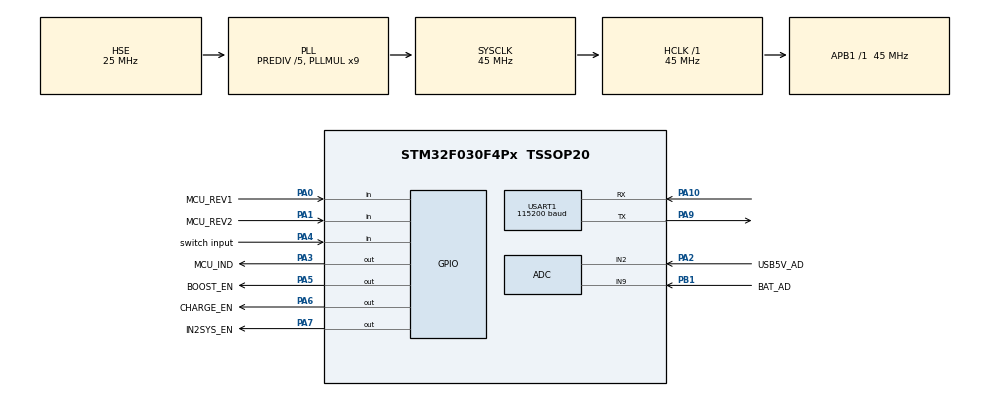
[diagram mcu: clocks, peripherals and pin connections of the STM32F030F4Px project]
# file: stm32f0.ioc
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ADC.ContinuousConvMode=ENABLE
ADC.LowPowerAutoPowerOff=ENABLE
ADC.LowPowerAutoWait=ENABLE
ADC.Overrun=ADC_OVR_DATA_OVERWRITTEN
ADC.SamplingTime=ADC_SAMPLETIME_239CYCLES_5
IWDG.Prescaler=IWDG_PRESCALER_64
IWDG.Reload=1250
IWDG.Window=1250
Mcu.Family=STM32F0
Mcu.Name=STM32F030F4Px
Mcu.Package=TSSOP20
NVIC.RCC_IRQn=true\:0\:0\:false\:false\:true\:true\:false
NVIC.USART1_IRQn=true\:0\:0\:false\:false\:true\:true\:true
PA0.GPIO_Label=MCU_REV1
PA0.Signal=GPIO_Input
PA1.GPIO_Label=MCU_REV2
PA1.Signal=GPIO_Input
PA10.Mode=Asynchronous
PA10.Signal=USART1_RX
PA13.Mode=Serial_Wire
PA13.Signal=SYS_SWDIO
PA14.Mode=Serial_Wire
PA14.Signal=SYS_SWCLK
PA2.GPIO_Label=USB5V_AD
PA2.Mode=IN2
PA2.Signal=ADC_IN2
PA3.GPIO_Label=MCU_IND
PA3.GPIO_Speed=GPIO_SPEED_FREQ_HIGH
PA3.Signal=GPIO_Output
PA4.GPIO_Label=switch input
PA4.Signal=GPIO_Input
PA5.GPIO_Label=BOOST_EN
PA5.GPIO_PuPd=GPIO_PULLUP
PA5.Signal=GPIO_Output
PA6.GPIO_Label=CHARGE_EN
PA6.GPIO_PuPd=GPIO_PULLUP
PA6.GPIO_Speed=GPIO_SPEED_FREQ_LOW
PA6.Signal=GPIO_Output
PA7.GPIO_Label=IN2SYS_EN
PA7.GPIO_PuPd=GPIO_NOPULL
PA7.GPIO_Speed=GPIO_SPEED_FREQ_LOW
PA7.Signal=SharedStack_PA7
PA7.Stacked=true
PA9.Mode=Asynchronous
PA9.Signal=USART1_TX
PB1.GPIO_Label=BAT_AD
PB1.Mode=IN9
PB1.Signal=ADC_IN9
PF0-OSC_IN.Mode=HSE-External-Oscillator
PF0-OSC_IN.Signal=RCC_OSC_IN
PF1-OSC_OUT.Mode=HSE-External-Oscillator
PF1-OSC_OUT.Signal=RCC_OSC_OUT
ProjectManager.HeapSize=0x200
ProjectManager.StackSize=0x400
ProjectManager.TargetToolchain=STM32CubeIDE
RCC.AHBFreq_Value=45000000
RCC.APB1Freq_Value=45000000
RCC.APB1TimFreq_Value=45000000
RCC.HCLKFreq_Value=45000000
RCC.HSE_VALUE=25000000
RCC.PLLDivider=RCC_PREDIV_DIV5
RCC.PLLMUL=RCC_PLL_MUL9
RCC.PLLSourceVirtual=RCC_PLLSOURCE_HSE
RCC.SYSCLKFreq_VALUE=45000000
RCC.SYSCLKSource=RCC_SYSCLKSOURCE_PLLCLK
SH.SharedStack_PA7.0=GPIO_Output+0
SH.SharedStack_PA7.1=GPIO_Input
USART1.BaudRate=115200
USART1.DMADisableonRxErrorParam=ADVFEATURE_DMA_DISABLEONRXERROR
USART1.OneBitSampling=UART_ONE_BIT_SAMPLE_DISABLE
USART1.OverSampling=UART_OVERSAMPLING_8
USART1.VirtualMode-Asynchronous=VM_ASYNC
USART1.WordLength=WORDLENGTH_8B
VP_IWDG_VS_IWDG.Mode=IWDG_Activate
board=custom

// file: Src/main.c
/* USER CODE BEGIN Header */
/**
  ******************************************************************************
  * @file           : main.c
  * @brief          : Main program body
  ******************************************************************************
  * @attention
  *
  * <h2><center>&copy; Copyright (c) 2019 STMicroelectronics.
  * All rights reserved.</center></h2>
  *
  * This software component is licensed by ST under BSD 3-Clause license,
  * the "License"; You may not use this file except in compliance with the
  * License. You may obtain a copy of the License at:
  *                        opensource.org/licenses/BSD-3-Clause
  *
  ******************************************************************************
  */
/* USER CODE END Header */

#include "main.h"

/* USER CODE BEGIN Includes */
#include "usart.h"
#include "adc.h"
#include "crc.h"
#include "stm32f0xx_it.h"
/* USER CODE END Includes */

/* USER CODE BEGIN PD */
#define SHORT_PRESS_DURATION	1000/10
#define MIDDLE_PRESS_DURATION	4000/10
#define SHUTDOWN_CM_DURATION  6000/10
#define LONG_PRESS_DURATION		10000/10 /*shutdown CM forcely*/
#define BATT_VOL_SEND_PERIOD    1000 //ms
#define POWKEY_ACTIVE 	    0
#define POWKEY_DEACTIVE 	1
#define DURATION_S(sec)    ((sec * 1000)/10)

/* USER CODE END PD */

/* USER CODE BEGIN PM */
#define TRUE  1
#define FALSE 0
#define KEY_FIRST_ON        0x01
#define KEY_DEBOUNCE_START  0x02
#define KEY_DEBOUNCE_END    0x04
#define KEY_RELEASED        0x08
/* USER CODE END PM */

ADC_HandleTypeDef hadc;

IWDG_HandleTypeDef hiwdg;

UART_HandleTypeDef huart1;

/* USER CODE BEGIN PV */
uint8_t flag_key = 0;
static uint8_t current_powerState = OFF;
static uint8_t Uart_TxData[10] = {0};
static uint8_t Uart_RxData[10] = {0};
uint32_t u32KeyTimerCnt;
extern uint32_t flag_time;
/* USER CODE END PV */

void SystemClock_Config(void);
static void MX_GPIO_Init(void);
static void MX_ADC_Init(void);
static void MX_USART1_UART_Init(void);
static void MX_IWDG_Init(void);
/* USER CODE BEGIN PFP */
//static void Pow_GPIO_Dir_Set(int dir);
/* USER CODE END PFP */

/* USER CODE BEGIN 0 */
uint32_t Get_Switch_Key_Val(GPIO_TypeDef *GPIOx, uint32_t key)
{
	return (LL_GPIO_IsInputPinSet(GPIOx, key) == TRUE) ? POWKEY_DEACTIVE :POWKEY_ACTIVE;
}

uint8_t Get_CurrentPowState(void)
{
	return current_powerState;
}

void Set_CurrentPowState(uint32_t state)
{
	 current_powerState = state;
}

void scan_key(void)
{
	static uint8_t debounce_time = 1; //10ms

	  if((flag_key & KEY_FIRST_ON) == FALSE)
	  {
		  if(POWKEY_ACTIVE == Get_Switch_Key_Val(switch_input_GPIO_Port, switch_input_Pin))
		  {
			  flag_key |= KEY_FIRST_ON;
			  flag_key |= KEY_DEBOUNCE_START;
		  }
	  }
	  else if(flag_key & KEY_DEBOUNCE_START)
	  {
		  debounce_time--;
		  if(debounce_time == 0)
		  {
			  debounce_time = 1;
			  flag_key &= ~KEY_DEBOUNCE_START;
			  flag_key |= KEY_DEBOUNCE_END;
		  }
	  }
	  else if(flag_key & KEY_DEBOUNCE_END)
	  {

		  if(POWKEY_ACTIVE == Get_Switch_Key_Val(switch_input_GPIO_Port, switch_input_Pin))
		  {
			  u32KeyTimerCnt++;
		  }
		  else
		  {
			  flag_key &= ~KEY_DEBOUNCE_END;
			  flag_key |= KEY_RELEASED;
		  }

	  }
	  else
	  {

	  }

	if((flag_key & KEY_RELEASED) != 0)
	{
		  if(0 < u32KeyTimerCnt && u32KeyTimerCnt <= SHORT_PRESS_DURATION)
		  {
			  flag_key = 0;
			  u32KeyTimerCnt = 0;
			  Uart_TxData[2] = 1; //key msg
        Uart_TxData[3] = 1; // len,lsb
        Uart_TxData[4] = 0; // len,msb
			  Uart_TxData[5] = SHORT_PRESS;
			  Uart_TxData[6] = crc8_calculate(Uart_TxData, UART_MSG_LENGTH );
			  HAL_UART_Transmit_IT(&huart1, Uart_TxData, MIN_IPC_MSG_LEN + KEY_MSG_PAYLOAD_LEN);
			  HAL_UART_Receive_IT(&huart1, Uart_RxData, MIN_IPC_MSG_LEN + KEY_MSG_PAYLOAD_LEN);
		  }
		  else if(SHORT_PRESS_DURATION < u32KeyTimerCnt && u32KeyTimerCnt <= MIDDLE_PRESS_DURATION)
		  {
			  u32KeyTimerCnt = 0;
			  flag_key = 0;
		  }
      else if(SHUTDOWN_CM_DURATION <= u32KeyTimerCnt && u32KeyTimerCnt < LONG_PRESS_DURATION)
      {
        	u32KeyTimerCnt = 0;
			    flag_key = 0;
      }
		  else
		  {
			  u32KeyTimerCnt = 0;
			  flag_key = 0;
		  }
	 }
   else
   {
     if(SHORT_PRESS_DURATION < u32KeyTimerCnt && u32KeyTimerCnt <= MIDDLE_PRESS_DURATION)
		  {
			  if(OFF == current_powerState)
			  {
           /*power on CM*/
          /**/
				  //LL_GPIO_SetOutputPin(BOOST_EN_GPIO_Port, BOOST_EN_Pin);

				  /**/
				  //LL_GPIO_SetOutputPin(CHARGE_EN_GPIO_Port, CHARGE_EN_Pin);

				  /**/
				  //LL_GPIO_SetOutputPin(IN2SYS_EN_GPIO_Port, IN2SYS_EN_Pin);

				  Pow_GPIO_Dir_Set(0);
				  Set_CurrentPowState(ON);
				  HAL_UART_Receive_IT(&huart1, Uart_RxData, MIN_IPC_MSG_LEN + KEY_MSG_PAYLOAD_LEN);
			  }
			  else
			  {
          /*Do nothing*/
			  }
		  }
      else if(SHUTDOWN_CM_DURATION <= u32KeyTimerCnt && u32KeyTimerCnt < LONG_PRESS_DURATION)
      {
            if(Get_CurrentPowState() != OFF && Get_CurrentPowState() != READY_OFF)
            {
              Uart_TxData[2] = 1;//key msg
              Uart_TxData[3] = 1; // len_lsb
              Uart_TxData[4] = 0; // len_msb
              Uart_TxData[5] = SHUTDOWN_PRESS; //payload
              Uart_TxData[6] = crc8_calculate(Uart_TxData, UART_MSG_LENGTH );
              HAL_UART_Transmit_IT(&huart1, Uart_TxData, MIN_IPC_MSG_LEN + KEY_MSG_PAYLOAD_LEN);
              HAL_UART_Receive_IT(&huart1, Uart_RxData, MIN_IPC_MSG_LEN + KEY_MSG_PAYLOAD_LEN);
              Set_CurrentPowState(WAITING_OFF);
            }
            else
            {
              /*Do nothing*/
            }

      }
      else if(u32KeyTimerCnt >= LONG_PRESS_DURATION)
      {
          Pow_GPIO_Dir_Set(1);
          /**/
          LL_GPIO_ResetOutputPin(BOOST_EN_GPIO_Port, BOOST_EN_Pin);

          /**/
          LL_GPIO_ResetOutputPin(CHARGE_EN_GPIO_Port, CHARGE_EN_Pin);

          /**/
          LL_GPIO_ResetOutputPin(IN2SYS_EN_GPIO_Port, IN2SYS_EN_Pin);

          Set_CurrentPowState(OFF);
      }
      else
      {
        /* code */
      }
   }
}

void time_10ms_proc(void)
{
	scan_key();
	  /*After pi excute power off sequence, it sends out ready off state to mcu,which will set
	   *  current_powerState to READY_OFF*/
	  if(Get_CurrentPowState() == READY_OFF)
	  {
      Pow_GPIO_Dir_Set(1);
		  /**/
		  LL_GPIO_ResetOutputPin(BOOST_EN_GPIO_Port, BOOST_EN_Pin);

		  /**/
		  LL_GPIO_ResetOutputPin(CHARGE_EN_GPIO_Port, CHARGE_EN_Pin);

		  /**/
		  LL_GPIO_ResetOutputPin(IN2SYS_EN_GPIO_Port, IN2SYS_EN_Pin);

		  Set_CurrentPowState(OFF);
	  }
	  HAL_IWDG_Refresh(&hiwdg);
}

void time_1000ms_proc(void)
{
	uint8_t current_pow_sts;

	current_pow_sts = Get_CurrentPowState();
	ADC_Check_And_Send(current_pow_sts);
}

void Pow_GPIO_Dir_Set(int dir)
{
   LL_GPIO_InitTypeDef GPIO_InitStruct = {0};

  if(dir == 0) /*input*/
  {
    GPIO_InitStruct.Pin = BOOST_EN_Pin;
    GPIO_InitStruct.Mode = LL_GPIO_MODE_INPUT;
    GPIO_InitStruct.Pull = LL_GPIO_PULL_NO;
    LL_GPIO_Init(BOOST_EN_GPIO_Port, &GPIO_InitStruct);

    /**/
    GPIO_InitStruct.Pin = CHARGE_EN_Pin;
    GPIO_InitStruct.Mode = LL_GPIO_MODE_INPUT;
    GPIO_InitStruct.Pull = LL_GPIO_PULL_NO;
    LL_GPIO_Init(CHARGE_EN_GPIO_Port, &GPIO_InitStruct);

    /**/
    GPIO_InitStruct.Pin = IN2SYS_EN_Pin;
    GPIO_InitStruct.Mode = LL_GPIO_MODE_INPUT;
    GPIO_InitStruct.Pull = LL_GPIO_PULL_NO;
    LL_GPIO_Init(IN2SYS_EN_GPIO_Port, &GPIO_InitStruct);

    GPIO_InitStruct.Pin = MCU_REV1_Pin;
    GPIO_InitStruct.Mode = LL_GPIO_MODE_INPUT;
    GPIO_InitStruct.Pull = LL_GPIO_PULL_UP;
    LL_GPIO_Init(MCU_REV1_GPIO_Port, &GPIO_InitStruct);

  }
  else /*output*/
  {
    GPIO_InitStruct.Pin = BOOST_EN_Pin;
    GPIO_InitStruct.Mode = LL_GPIO_MODE_OUTPUT;
    GPIO_InitStruct.Speed = LL_GPIO_SPEED_FREQ_HIGH;
    GPIO_InitStruct.OutputType = LL_GPIO_OUTPUT_PUSHPULL;
    GPIO_InitStruct.Pull = LL_GPIO_PULL_NO;
    LL_GPIO_Init(BOOST_EN_GPIO_Port, &GPIO_InitStruct);

    GPIO_InitStruct.Pin = MCU_REV1_Pin;
    GPIO_InitStruct.Mode = LL_GPIO_MODE_OUTPUT;
    GPIO_InitStruct.Speed = LL_GPIO_SPEED_FREQ_HIGH;
    GPIO_InitStruct.OutputType = LL_GPIO_OUTPUT_PUSHPULL;
    GPIO_InitStruct.Pull = LL_GPIO_PULL_DOWN;
    LL_GPIO_Init(MCU_REV1_GPIO_Port, &GPIO_InitStruct);
  }

}

/* USER CODE END 0 */

int main(void)
{
  /* USER CODE BEGIN 1 */
	Uart_TxData[0] = 0x5a;
	Uart_TxData[1] = 0xa5;  //ipc header
  /* USER CODE END 1 */

  /* MCU Configuration--------------------------------------------------------*/

  /* Reset of all peripherals, Initializes the Flash interface and the Systick. */
  HAL_Init();

  /* Configure the system clock */
  SystemClock_Config();

  /* USER CODE BEGIN SysInit */
  NVIC_EnableIRQ(SysTick_IRQn);
  /* USER CODE END SysInit */

  /* Initialize all configured peripherals */
  MX_GPIO_Init();
  MX_ADC_Init();
  MX_USART1_UART_Init();
  MX_IWDG_Init();
  /* USER CODE BEGIN 2 */
  /*enable uart rx interrupt after init*/
  HAL_UART_Receive_IT(&huart1, Uart_RxData, MIN_IPC_MSG_LEN + KEY_MSG_PAYLOAD_LEN);
  /**/
  LL_GPIO_ResetOutputPin(BOOST_EN_GPIO_Port, BOOST_EN_Pin);

  /**/
  LL_GPIO_ResetOutputPin(CHARGE_EN_GPIO_Port, CHARGE_EN_Pin);

  /**/
  LL_GPIO_ResetOutputPin(IN2SYS_EN_GPIO_Port, IN2SYS_EN_Pin);

  //crc = HAL_CRC_Calculate(&hcrc, (uint32_t*)buf, sizeof(buf));

  /* USER CODE END 2 */

  /* Infinite loop */
  /* USER CODE BEGIN WHILE */
  while (1)
  {
	  time_proc();

	  LL_mDelay(1);
    /* USER CODE END WHILE */

  }
}

void SystemClock_Config(void)
{
  RCC_OscInitTypeDef RCC_OscInitStruct = {0};
  RCC_ClkInitTypeDef RCC_ClkInitStruct = {0};
  RCC_PeriphCLKInitTypeDef PeriphClkInit = {0};

  /** Initializes the CPU, AHB and APB busses clocks
  */
  RCC_OscInitStruct.OscillatorType = RCC_OSCILLATORTYPE_HSI14|RCC_OSCILLATORTYPE_LSI
                              |RCC_OSCILLATORTYPE_HSE;
  RCC_OscInitStruct.HSEState = RCC_HSE_ON;
  RCC_OscInitStruct.HSI14State = RCC_HSI14_ON;
  RCC_OscInitStruct.HSI14CalibrationValue = 16;
  RCC_OscInitStruct.LSIState = RCC_LSI_ON;
  RCC_OscInitStruct.PLL.PLLState = RCC_PLL_ON;
  RCC_OscInitStruct.PLL.PLLSource = RCC_PLLSOURCE_HSE;
  RCC_OscInitStruct.PLL.PLLMUL = RCC_PLL_MUL9;
  RCC_OscInitStruct.PLL.PREDIV = RCC_PREDIV_DIV5;
  if (HAL_RCC_OscConfig(&RCC_OscInitStruct) != HAL_OK)
  {
    Error_Handler();
  }
  /** Initializes the CPU, AHB and APB busses clocks
  */
  RCC_ClkInitStruct.ClockType = RCC_CLOCKTYPE_HCLK|RCC_CLOCKTYPE_SYSCLK
                              |RCC_CLOCKTYPE_PCLK1;
  RCC_ClkInitStruct.SYSCLKSource = RCC_SYSCLKSOURCE_PLLCLK;
  RCC_ClkInitStruct.AHBCLKDivider = RCC_SYSCLK_DIV1;
  RCC_ClkInitStruct.APB1CLKDivider = RCC_HCLK_DIV1;

  if (HAL_RCC_ClockConfig(&RCC_ClkInitStruct, FLASH_LATENCY_1) != HAL_OK)
  {
    Error_Handler();
  }
  PeriphClkInit.PeriphClockSelection = RCC_PERIPHCLK_USART1;
  PeriphClkInit.Usart1ClockSelection = RCC_USART1CLKSOURCE_PCLK1;
  if (HAL_RCCEx_PeriphCLKConfig(&PeriphClkInit) != HAL_OK)
  {
    Error_Handler();
  }
}

static void MX_ADC_Init(void)
{

  ADC_ChannelConfTypeDef sConfig = {0};

  /** Configure the global features of the ADC (Clock, Resolution, Data Alignment and number of conversion)
  */
  hadc.Instance = ADC1;
  hadc.Init.ClockPrescaler = ADC_CLOCK_ASYNC_DIV1;
  hadc.Init.Resolution = ADC_RESOLUTION_12B;
  hadc.Init.DataAlign = ADC_DATAALIGN_RIGHT;
  hadc.Init.ScanConvMode = ADC_SCAN_DIRECTION_FORWARD;
  hadc.Init.EOCSelection = ADC_EOC_SINGLE_CONV;
  hadc.Init.LowPowerAutoWait = ENABLE;
  hadc.Init.LowPowerAutoPowerOff = ENABLE;
  hadc.Init.ContinuousConvMode = ENABLE;
  hadc.Init.DiscontinuousConvMode = DISABLE;
  hadc.Init.ExternalTrigConv = ADC_SOFTWARE_START;
  hadc.Init.ExternalTrigConvEdge = ADC_EXTERNALTRIGCONVEDGE_NONE;
  hadc.Init.DMAContinuousRequests = DISABLE;
  hadc.Init.Overrun = ADC_OVR_DATA_OVERWRITTEN;
  if (HAL_ADC_Init(&hadc) != HAL_OK)
  {
    Error_Handler();
  }
  /** Configure for the selected ADC regular channel to be converted.
  */
  sConfig.Channel = ADC_CHANNEL_2;
  sConfig.Rank = ADC_RANK_CHANNEL_NUMBER;
  sConfig.SamplingTime = ADC_SAMPLETIME_239CYCLES_5;
  if (HAL_ADC_ConfigChannel(&hadc, &sConfig) != HAL_OK)
  {
    Error_Handler();
  }
  /** Configure for the selected ADC regular channel to be converted.
  */
  sConfig.Channel = ADC_CHANNEL_9;
  if (HAL_ADC_ConfigChannel(&hadc, &sConfig) != HAL_OK)
  {
    Error_Handler();
  }
  /* USER CODE BEGIN ADC_Init 2 */
  //LL_ADC_Enable(ADC1);
  //while(!LL_ADC_IsActiveFlag_ADRDY(ADC1)); //wait for ready
  /* USER CODE END ADC_Init 2 */

}

static void MX_IWDG_Init(void)
{

  hiwdg.Instance = IWDG;
  hiwdg.Init.Prescaler = IWDG_PRESCALER_64;
  hiwdg.Init.Window = 1250;
  hiwdg.Init.Reload = 1250;
  if (HAL_IWDG_Init(&hiwdg) != HAL_OK)
  {
    Error_Handler();
  }

}

static void MX_USART1_UART_Init(void)
{

  huart1.Instance = USART1;
  huart1.Init.BaudRate = 115200;
  huart1.Init.WordLength = UART_WORDLENGTH_8B;
  huart1.Init.StopBits = UART_STOPBITS_1;
  huart1.Init.Parity = UART_PARITY_NONE;
  huart1.Init.Mode = UART_MODE_TX_RX;
  huart1.Init.HwFlowCtl = UART_HWCONTROL_NONE;
  huart1.Init.OverSampling = UART_OVERSAMPLING_8;
  huart1.Init.OneBitSampling = UART_ONE_BIT_SAMPLE_DISABLE;
  huart1.AdvancedInit.AdvFeatureInit = UART_ADVFEATURE_DMADISABLEONERROR_INIT;
  huart1.AdvancedInit.DMADisableonRxError = UART_ADVFEATURE_DMA_DISABLEONRXERROR;
  if (HAL_UART_Init(&huart1) != HAL_OK)
  {
    Error_Handler();
  }

}

static void MX_GPIO_Init(void)
{
  LL_GPIO_InitTypeDef GPIO_InitStruct = {0};

  /* GPIO Ports Clock Enable */
  LL_AHB1_GRP1_EnableClock(LL_AHB1_GRP1_PERIPH_GPIOF);
  LL_AHB1_GRP1_EnableClock(LL_AHB1_GRP1_PERIPH_GPIOA);
  LL_AHB1_GRP1_EnableClock(LL_AHB1_GRP1_PERIPH_GPIOB);

  /**/
  LL_GPIO_ResetOutputPin(MCU_REV1_GPIO_Port, MCU_REV1_Pin);

  /**/
  //LL_GPIO_ResetOutputPin(MCU_REV2_GPIO_Port, MCU_REV2_Pin);

  /**/
  LL_GPIO_ResetOutputPin(MCU_IND_GPIO_Port, MCU_IND_Pin);

  /**/
  LL_GPIO_ResetOutputPin(BOOST_EN_GPIO_Port, BOOST_EN_Pin);

  /**/
  LL_GPIO_SetOutputPin(CHARGE_EN_GPIO_Port, CHARGE_EN_Pin);

  /**/
  LL_GPIO_SetOutputPin(IN2SYS_EN_GPIO_Port, IN2SYS_EN_Pin);

  /**/
  GPIO_InitStruct.Pin = MCU_REV1_Pin;
  GPIO_InitStruct.Mode = LL_GPIO_MODE_OUTPUT;
  GPIO_InitStruct.Speed = LL_GPIO_SPEED_FREQ_HIGH;
  GPIO_InitStruct.OutputType = LL_GPIO_OUTPUT_PUSHPULL;
  GPIO_InitStruct.Pull = LL_GPIO_PULL_DOWN;
  LL_GPIO_Init(MCU_REV1_GPIO_Port, &GPIO_InitStruct);

  /**/
  // GPIO_InitStruct.Pin = MCU_REV2_Pin;
  // GPIO_InitStruct.Mode = LL_GPIO_MODE_OUTPUT;
  // GPIO_InitStruct.Speed = LL_GPIO_SPEED_FREQ_HIGH;
  // GPIO_InitStruct.OutputType = LL_GPIO_OUTPUT_PUSHPULL;
  // GPIO_InitStruct.Pull = LL_GPIO_PULL_NO;
  // LL_GPIO_Init(MCU_REV2_GPIO_Port, &GPIO_InitStruct);

  /**/
  GPIO_InitStruct.Pin = MCU_IND_Pin;
  GPIO_InitStruct.Mode = LL_GPIO_MODE_OUTPUT;
  GPIO_InitStruct.Speed = LL_GPIO_SPEED_FREQ_HIGH;
  GPIO_InitStruct.OutputType = LL_GPIO_OUTPUT_PUSHPULL;
  GPIO_InitStruct.Pull = LL_GPIO_PULL_NO;
  LL_GPIO_Init(MCU_IND_GPIO_Port, &GPIO_InitStruct);

  /**/
  GPIO_InitStruct.Pin = switch_input_Pin;
  GPIO_InitStruct.Mode = LL_GPIO_MODE_INPUT;
  GPIO_InitStruct.Pull = LL_GPIO_PULL_NO;
  LL_GPIO_Init(switch_input_GPIO_Port, &GPIO_InitStruct);

  /**/
  GPIO_InitStruct.Pin = BOOST_EN_Pin;
  GPIO_InitStruct.Mode = LL_GPIO_MODE_OUTPUT;
  GPIO_InitStruct.Speed = LL_GPIO_SPEED_FREQ_HIGH;
  GPIO_InitStruct.OutputType = LL_GPIO_OUTPUT_PUSHPULL;
  GPIO_InitStruct.Pull = LL_GPIO_PULL_NO;
  LL_GPIO_Init(BOOST_EN_GPIO_Port, &GPIO_InitStruct);

  GPIO_InitStruct.Pin = CHARGE_EN_Pin;
  GPIO_InitStruct.Mode = LL_GPIO_MODE_INPUT;
  GPIO_InitStruct.Pull = LL_GPIO_PULL_UP;
  LL_GPIO_Init(CHARGE_EN_GPIO_Port, &GPIO_InitStruct);

  GPIO_InitStruct.Pin = IN2SYS_EN_Pin;
  GPIO_InitStruct.Mode = LL_GPIO_MODE_INPUT;
  GPIO_InitStruct.Pull = LL_GPIO_PULL_UP;
  LL_GPIO_Init(IN2SYS_EN_GPIO_Port, &GPIO_InitStruct);

/*
  GPIO_InitStruct.Pin = CHARGE_EN_Pin;
  GPIO_InitStruct.Mode = LL_GPIO_MODE_OUTPUT;
  GPIO_InitStruct.Speed = LL_GPIO_SPEED_FREQ_HIGH;
  GPIO_InitStruct.OutputType = LL_GPIO_OUTPUT_PUSHPULL;
  GPIO_InitStruct.Pull = LL_GPIO_PULL_NO;
  LL_GPIO_Init(CHARGE_EN_GPIO_Port, &GPIO_InitStruct);

  GPIO_InitStruct.Pin = IN2SYS_EN_Pin;
  GPIO_InitStruct.Mode = LL_GPIO_MODE_OUTPUT;
  GPIO_InitStruct.Speed = LL_GPIO_SPEED_FREQ_HIGH;
  GPIO_InitStruct.OutputType = LL_GPIO_OUTPUT_PUSHPULL;
  GPIO_InitStruct.Pull = LL_GPIO_PULL_NO;
  LL_GPIO_Init(IN2SYS_EN_GPIO_Port, &GPIO_InitStruct);
*/

}

void Error_Handler(void)
{
}

/************************ (C) COPYRIGHT STMicroelectronics *****END OF FILE****/
